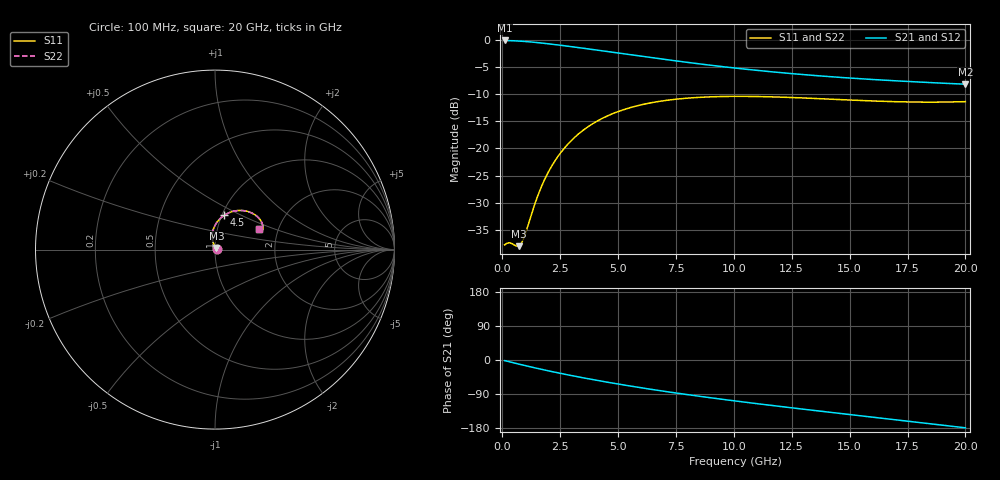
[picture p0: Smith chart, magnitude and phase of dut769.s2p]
! Touchstone file exported from HFSS 2024.1.0
!  File:  C:/UserFiles/LocalFiles/RDL_TSV_Batchsim/temp_RDL_TSV_769_1779902550.aedt
!  Generated:  01:37:50 AM May 28, 2026
!  Design:  RDL_TSV
!  Project:  temp_RDL_TSV_769_1779902550
!  Setup:  Setup1
!  Solution:  Sweep
! Variables:
!  dtsv = 7.75um
!  hbump = 3um
!  htsv = 69.49um
!  ldown = 141.27um
!  lrdl = 541.61um
!  p = 40
!  p1 = 52.84um
!  rhole = 10um
!  subl = 2590.25um
!  t = 450um
!  tdown = 2.32um
!  trdl = 3.81um
!  viad = 10um
!  wdown = 14.53um
!  wrdl = 27.78um
!  xbump = 18um
# GHz S MA R 50.000000
! Terminal data exported
! Port[1] = TM1_1_T1
! Port[2] = TM1_4_T1
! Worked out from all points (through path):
!   200 points, 100 MHz to 20 GHz, reference 50 ohm
!   highest |S21| = -0.12 dB at 100 MHz (marker M1); lowest = -8.2 dB at 20 GHz (marker M2)
!   group delay of S21, straight-line fit = 23.5 ps
!   lowest |S11| = -38.0 dB at 700 MHz (marker M3), VSWR 1.03, Z = 50.8 + j0.97 ohm
!   |S11| at or under -10 dB: start of sweep to end of sweep
!   |S22| runs from -38.0 to -10.4 dB; largest |S21 - S12| = 1.1e-14
!   S11 on the Smith chart (normalised r, x): 100 MHz: 1.03, +0.00; 4.5 GHz: 1.03, +0.41; 20 GHz: 1.58, +0.40
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0.1  0.01297 7.9  0.9868 -1.6  0.9868 -1.6  0.01297 7.9
! Gamma 0 0 0 0
! Port Impedance 50 0 50 0
0.3  0.01356 18.4  0.9839 -4.6  0.9839 -4.6  0.01356 18.4
0.7  0.01261 49.1  0.9748 -10.6  0.9748 -10.6  0.01261 49.1
0.8  0.01315 60.8  0.9718 -12.1  0.9718 -12.1  0.01315 60.7
0.9  0.01443 72.1  0.9685 -13.6  0.9685 -13.6  0.01443 72.0
1.4  0.03064 101.4  0.9484 -20.7  0.9484 -20.7  0.03061 101.4
1.6  0.04 104.1  0.9391 -23.4  0.9391 -23.4  0.03997 104.1
1.8  0.05029 104.6  0.9292 -26.1  0.9292 -26.1  0.05024 104.6
2.1  0.06687 103.2  0.9136 -30.1  0.9136 -30.1  0.0668 103.2
2.4  0.08422 100.4  0.8975 -33.9  0.8975 -33.9  0.08414 100.4
2.7  0.1019 97.1  0.8811 -37.6  0.8811 -37.6  0.1018 97.0
3.1  0.1251 92.1  0.859 -42.4  0.859 -42.4  0.125 92.1
3.5  0.1476 87.1  0.8369 -47.1  0.8369 -47.1  0.1474 87.1
4.5  0.1975 75.1  0.7829 -58.1  0.7829 -58.1  0.1973 75.1
5.6  0.24 63.5  0.7265 -69.4  0.7265 -69.4  0.2398 63.4
6.8  0.2717 52.8  0.67 -80.8  0.67 -80.8  0.2714 52.8
8.4  0.2946 41.6  0.6048 -94.8  0.6048 -94.8  0.2943 41.6
10.1  0.3017 32.8  0.5484 -108.4  0.5484 -108.4  0.3014 32.8
11.7  0.2984 27.0  0.5063 -120.4  0.5063 -120.4  0.2981 27.0
13.4  0.2893 23.2  0.4711 -132.7  0.4711 -132.7  0.289 23.2
16.7  0.2705 21.7  0.4228 -155.8  0.4228 -155.8  0.2703 21.7
20  0.2699 25.4  0.3904 -178.9  0.3904 -178.9  0.2696 25.4
